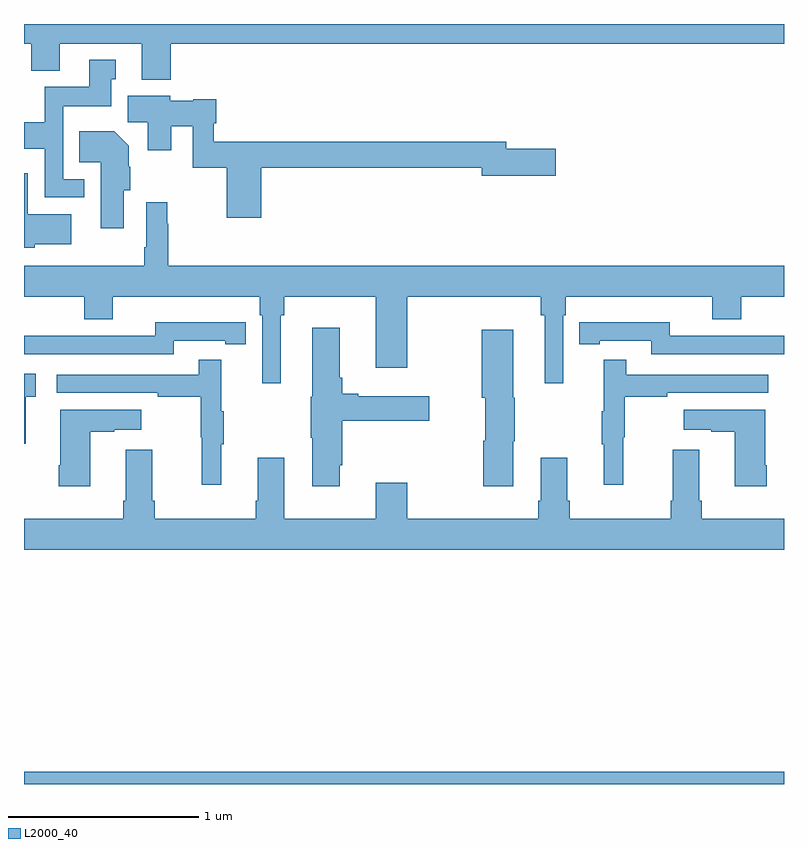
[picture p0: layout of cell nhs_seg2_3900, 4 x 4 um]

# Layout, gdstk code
import gdstk
lib = gdstk.Library(unit=1e-6, precision=1e-09)
def R(c, l, rs):  # rectangles x0, y0, x1, y1
    for r in rs: c.add(gdstk.rectangle(r[:2], r[2:], *l))
def P(c, l, *ps):  # polygons
    for p in ps: c.add(gdstk.Polygon(p, *l))
L2000_40 = (2000, 40)

nhs_seg2_3900 = lib.new_cell('nhs_seg2_3900')
R(nhs_seg2_3900, L2000_40, [(319,583.8,323,583.864)])
P(nhs_seg2_3900, L2000_40, [(319.772,587.696),(323,587.696),(323,587.8),(319,587.8),(319,587.696),(319.037,587.696),(319.037,587.555),(319.189,587.555),(319.189,587.696),(319.619,587.696),(319.619,587.507),(319.772,587.507)],
  [(319.318,586.983),(319.206,586.983),(319.206,587.366),(319.459,587.366),(319.459,587.508),(319.483,587.508),(319.483,587.611),(319.343,587.611),(319.343,587.47),(319.108,587.47),(319.108,587.284),(319,587.284),(319,587.144),(319.11,587.144),(319.11,586.887),(319.318,586.887)],
  [(320.249,587.044),(321.41,587.044),(321.41,587.002),(321.799,587.002),(321.799,587.144),(321.538,587.144),(321.538,587.18),(319.999,587.18),(319.999,587.277),(320.011,587.277),(320.011,587.403),(319.89,587.403),(319.89,587.395),(319.77,587.395),(319.77,587.422),(319.547,587.422),(319.547,587.284),(319.652,587.284),(319.652,587.136),(319.774,587.136),(319.774,587.261),(319.887,587.261),(319.887,587.044),(320.066,587.044),(320.066,586.779),(320.249,586.779)],
  [(319.525,586.926),(319.56,586.926),(319.56,587.048),(319.552,587.048),(319.552,587.158),(319.474,587.236),(319.291,587.236),(319.291,587.072),(319.403,587.072),(319.403,586.725),(319.525,586.725)],
  [(319.056,586.64),(319.249,586.64),(319.249,586.798),(319.02,586.798),(319.02,587.014),(319,587.014),(319,586.622),(319.056,586.622)],
  [(320.35,586.268),(320.369,586.268),(320.369,586.364),(320.852,586.364),(320.852,585.99),(321.016,585.99),(321.016,586.364),(321.721,586.364),(321.721,586.268),(321.74,586.268),(321.74,585.909),(321.837,585.909),(321.837,586.268),(321.851,586.268),(321.851,586.364),(322.622,586.364),(322.622,586.247),(322.775,586.247),(322.775,586.364),(323,586.364),(323,586.528),(319.76,586.528),(319.76,586.748),(319.753,586.748),(319.753,586.861),(319.644,586.861),(319.644,586.624),(319.632,586.624),(319.632,586.528),(319,586.528),(319,586.364),(319.316,586.364),(319.316,586.247),(319.468,586.247),(319.468,586.364),(320.24,586.364),(320.24,586.268),(320.253,586.268),(320.253,585.909),(320.35,585.909)],
  [(323,586.16),(322.858,586.16),(322.858,586.158),(322.398,586.158),(322.398,586.231),(322.03,586.231),(322.03,586.23),(321.922,586.23),(321.922,586.114),(322.03,586.114),(322.03,586.134),(322.302,586.134),(322.302,586.062),(323,586.062)],
  [(319.788,586.134),(320.06,586.134),(320.06,586.114),(320.168,586.114),(320.168,586.23),(320.06,586.23),(320.06,586.231),(319.692,586.231),(319.692,586.158),(319.232,586.158),(319.232,586.16),(319,586.16),(319,586.062),(319.788,586.062)],
  [(320.662,585.478),(320.675,585.478),(320.675,585.712),(321.133,585.712),(321.133,585.841),(320.758,585.841),(320.758,585.854),(320.675,585.854),(320.675,585.937),(320.662,585.937),(320.662,586.201),(320.516,586.201),(320.516,585.837),(320.509,585.837),(320.509,585.623),(320.516,585.623),(320.516,585.366),(320.662,585.366)],
  [(321.574,585.604),(321.582,585.604),(321.582,585.834),(321.574,585.834),(321.574,586.192),(321.41,586.192),(321.41,585.834),(321.428,585.834),(321.428,585.606),(321.416,585.606),(321.416,585.366),(321.574,585.366)],
  [(320.039,585.587),(320.05,585.587),(320.05,585.761),(320.039,585.761),(320.039,586.033),(319.921,586.033),(319.921,585.954),(319.173,585.954),(319.173,585.858),(319.705,585.858),(319.705,585.838),(319.929,585.838),(319.929,585.624),(319.936,585.624),(319.936,585.375),(320.039,585.375)],
  [(322.154,585.624),(322.162,585.624),(322.162,585.838),(322.385,585.838),(322.385,585.858),(322.918,585.858),(322.918,585.954),(322.169,585.954),(322.169,586.033),(322.052,586.033),(322.052,585.761),(322.041,585.761),(322.041,585.587),(322.052,585.587),(322.052,585.375),(322.154,585.375)],
  [(319.01,585.837),(319.063,585.837),(319.063,585.958),(319,585.958),(319,585.591),(319.01,585.591)],
  [(319.348,585.655),(319.475,585.655),(319.475,585.665),(319.618,585.665),(319.618,585.769),(319.19,585.769),(319.19,585.478),(319.183,585.478),(319.183,585.366),(319.348,585.366)],
  [(322.908,585.478),(322.9,585.478),(322.9,585.769),(322.473,585.769),(322.473,585.665),(322.616,585.665),(322.616,585.655),(322.742,585.655),(322.742,585.366),(322.908,585.366)],
  [(320.231,585.517),(320.231,585.292),(320.219,585.292),(320.219,585.196),(319.688,585.196),(319.688,585.292),(319.675,585.292),(319.675,585.559),(319.535,585.559),(319.535,585.292),(319.523,585.292),(319.523,585.196),(319,585.196),(319,585.032),(323,585.032),(323,585.196),(322.568,585.196),(322.568,585.292),(322.555,585.292),(322.555,585.559),(322.415,585.559),(322.415,585.292),(322.403,585.292),(322.403,585.196),(321.872,585.196),(321.872,585.292),(321.859,585.292),(321.859,585.517),(321.719,585.517),(321.719,585.292),(321.707,585.292),(321.707,585.196),(321.016,585.196),(321.016,585.385),(320.852,585.385),(320.852,585.196),(320.371,585.196),(320.371,585.517)])

lib.write_gds('nhs_seg2_3900.gds')
